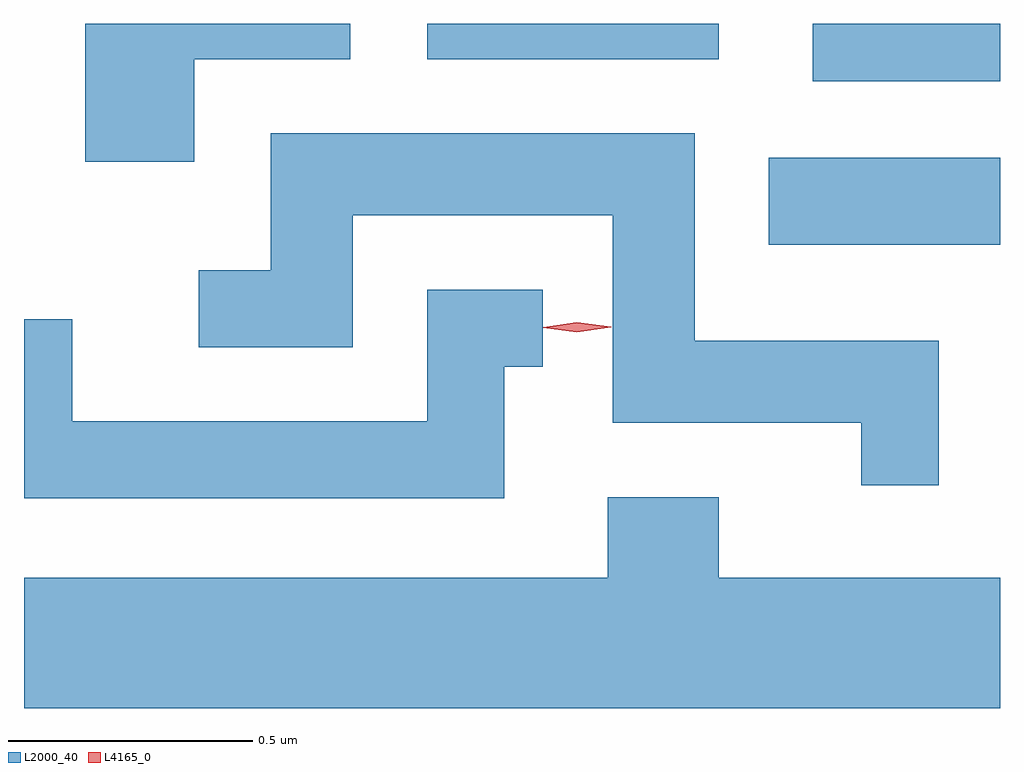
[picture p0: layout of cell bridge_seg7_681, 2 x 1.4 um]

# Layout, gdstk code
import gdstk
lib = gdstk.Library(unit=1e-6, precision=1e-09)
def R(c, l, rs):  # rectangles x0, y0, x1, y1
    for r in rs: c.add(gdstk.rectangle(r[:2], r[2:], *l))
def P(c, l, *ps):  # polygons
    for p in ps: c.add(gdstk.Polygon(p, *l))
L2000_40 = (2000, 40)
L4165_0 = (4165, 0)

bridge_seg7_681 = lib.new_cell('bridge_seg7_681')
R(bridge_seg7_681, L2000_40, [(886.081,1710.826,886.555,1711.004), (886.171,1711.161,886.555,1711.279), (885.381,1711.206,885.979,1711.279)])
P(bridge_seg7_681, L2000_40, [(884.904,1711.206),(885.224,1711.206),(885.224,1711.279),(884.681,1711.279),(884.681,1710.996),(884.904,1710.996)],
  [(886.429,1710.629),(885.929,1710.629),(885.929,1711.054),(885.061,1711.054),(885.061,1710.774),(884.913,1710.774),(884.913,1710.616),(885.229,1710.616),(885.229,1710.886),(885.761,1710.886),(885.761,1710.461),(886.271,1710.461),(886.271,1710.333),(886.429,1710.333)],
  [(885.539,1710.576),(885.618,1710.576),(885.618,1710.734),(885.381,1710.734),(885.381,1710.464),(884.654,1710.464),(884.654,1710.673),(884.555,1710.673),(884.555,1710.306),(885.539,1710.306)],
  [(886.555,1710.144),(885.979,1710.144),(885.979,1710.309),(885.751,1710.309),(885.751,1710.144),(884.555,1710.144),(884.555,1709.876),(886.555,1709.876)])
P(bridge_seg7_681, L4165_0, [(885.688,1710.647),(885.619,1710.656),(885.619,1710.656),(885.619,1710.657),(885.688,1710.667),(885.758,1710.658),(885.758,1710.657),(885.758,1710.657)])

lib.write_gds('bridge_seg7_681.gds')
